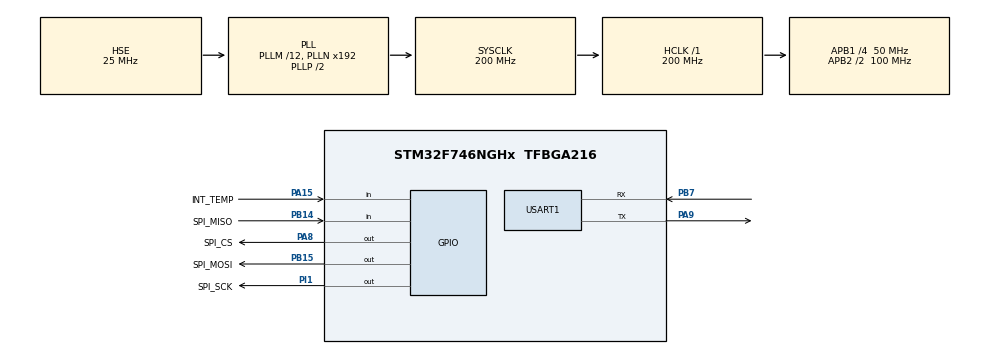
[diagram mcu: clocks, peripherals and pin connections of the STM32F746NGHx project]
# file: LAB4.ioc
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Mcu.Family=STM32F7
Mcu.Name=STM32F746NGHx
Mcu.Package=TFBGA216
NVIC.PriorityGroup=NVIC_PRIORITYGROUP_4
NVIC.TIM1_UP_TIM10_IRQn=true\:15\:0\:false\:false\:true\:false\:true
NVIC.TimeBase=TIM1_UP_TIM10_IRQn
NVIC.TimeBaseIP=TIM1
PA15.GPIO_Label=INT_TEMP
PA15.Signal=GPIO_Input
PA8.GPIO_Label=SPI_CS
PA8.Signal=GPIO_Output
PA9.Mode=Asynchronous
PA9.Signal=USART1_TX
PB14.GPIO_Label=SPI_MISO
PB14.Signal=GPIO_Input
PB15.GPIO_Label=SPI_MOSI
PB15.Signal=GPIO_Output
PB7.Mode=Asynchronous
PB7.Signal=USART1_RX
PC14/OSC32_IN.Mode=LSE-External-Oscillator
PC14/OSC32_IN.Signal=RCC_OSC32_IN
PC15/OSC32_OUT.Mode=LSE-External-Oscillator
PC15/OSC32_OUT.Signal=RCC_OSC32_OUT
PH0/OSC_IN.Mode=HSE-External-Oscillator
PH0/OSC_IN.Signal=RCC_OSC_IN
PH1/OSC_OUT.Mode=HSE-External-Oscillator
PH1/OSC_OUT.Signal=RCC_OSC_OUT
PI1.GPIO_Label=SPI_SCK
PI1.Signal=GPIO_Output
ProjectManager.HeapSize=0x200
ProjectManager.StackSize=0x400
ProjectManager.TargetToolchain=STM32CubeIDE
RCC.AHBFreq_Value=200000000
RCC.APB1CLKDivider=RCC_HCLK_DIV4
RCC.APB1Freq_Value=50000000
RCC.APB1TimFreq_Value=100000000
RCC.APB2CLKDivider=RCC_HCLK_DIV2
RCC.APB2Freq_Value=100000000
RCC.APB2TimFreq_Value=200000000
RCC.CortexFreq_Value=200000000
RCC.HCLKFreq_Value=200000000
RCC.HSE_VALUE=25000000
RCC.HSI_VALUE=16000000
RCC.PLLM=12
RCC.PLLSourceVirtual=RCC_PLLSOURCE_HSE
RCC.SYSCLKFreq_VALUE=200000000
RCC.SYSCLKSource=RCC_SYSCLKSOURCE_PLLCLK
RCC.USBFreq_Value=200000000
RCC.VCOOutputFreq_Value=400000000
USART1.VirtualMode-Asynchronous=VM_ASYNC
VP_SYS_VS_tim1.Mode=TIM1
board=STM32F746G-DISCO

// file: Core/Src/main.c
/* USER CODE BEGIN Header */
/**
 ******************************************************************************
 * @file           : main.c
 * @brief          : Main program body
 ******************************************************************************
 * @attention
 *
 * <h2><center>&copy; Copyright (c) 2023 STMicroelectronics.
 * All rights reserved.</center></h2>
 *
 * This software component is licensed by ST under BSD 3-Clause license,
 * the "License"; You may not use this file except in compliance with the
 * License. You may obtain a copy of the License at:
 *                        opensource.org/licenses/BSD-3-Clause
 *
 ******************************************************************************
 */
/* USER CODE END Header */
#include "main.h"

UART_HandleTypeDef huart1;

void SystemClock_Config(void);
static void MX_GPIO_Init(void);
static void MX_USART1_UART_Init(void);

/* USER CODE BEGIN 0 */
void spi_tranceive_bytes(uint8_t[4] , uint8_t[8] , uint16_t);
void spi_transmit(uint8_t, uint16_t);
uint8_t spi_receive(uint16_t);
uint8_t reverse(uint8_t);

void SysTickDelayCount(uint32_t);

#include <stdio.h>

#include <errno.h>
#include <sys/stat.h>
#include <sys/times.h>
#include <sys/unistd.h>
int _write(int file, char *ptr, int len) {
	HAL_StatusTypeDef xStatus;
	switch (file) {
	case STDOUT_FILENO: /*stdout*/
		xStatus = HAL_UART_Transmit(&huart1, (uint8_t*)ptr, len, HAL_MAX_DELAY);
		if (xStatus != HAL_OK) {
			errno = EIO;
			return -1;
		}
		break;
	case STDERR_FILENO: /* stderr */
		xStatus = HAL_UART_Transmit(&huart1, (uint8_t*)ptr, len, HAL_MAX_DELAY);
		if (xStatus != HAL_OK) {
			errno = EIO;
			return -1;
		}
		break;
	default:
		errno = EBADF;
		return -1;
	}
	return len;
}
/* USER CODE END 0 */

int main(void)
{

	/* MCU Configuration--------------------------------------------------------*/

	/* Reset of all peripherals, Initializes the Flash interface and the Systick. */
	HAL_Init();

	/* Configure the system clock */
	SystemClock_Config();

	/* Initialize all configured peripherals */
	MX_GPIO_Init();
	MX_USART1_UART_Init();
	/* USER CODE BEGIN 2 */

	//Commandbyte bit7:0 bit6:R/!W bit5-3:RegisterAdres bit2:continues read bit1-0:0
	//uint8_t trans[4] = {0b01011000, 0x00, 0x00, 0x00};	//continous read
	uint8_t trans[4] = {0x54, 0x00, 0x00, 0x00};	//once read
	//uint8_t trans[8] = {0x58, 0x00, 0x00, 0x58};	//cont read
	uint8_t reset[4] = {0xff, 0xff, 0xff, 0xff};
	uint8_t receive[8] = {0x00,0x00, 0x00, 0x00, 0x00,0x00, 0x00, 0x00};
	uint16_t len = 8;

	spi_tranceive_bytes(reset, receive, len);
	HAL_Delay(100);

	/* USER CODE END 2 */

	/* Infinite loop */
	while (1)
	{

		/* USER CODE BEGIN 3 */
		spi_tranceive_bytes(trans, receive, len);
		//HAL_Delay(1000);
		//test prints
		printf("-----------------------------------------------\n\r");
		for(int i = 0; i < 8; i++){
			printf("RX byte %d = %d\n\r", i, receive[i]);
		}

		HAL_Delay(100);
	}
	/* USER CODE END 3 */
}

void SystemClock_Config(void)
{
	RCC_OscInitTypeDef RCC_OscInitStruct = {0};
	RCC_ClkInitTypeDef RCC_ClkInitStruct = {0};
	RCC_PeriphCLKInitTypeDef PeriphClkInitStruct = {0};

	/** Configure LSE Drive Capability
	 */
	HAL_PWR_EnableBkUpAccess();
	/** Configure the main internal regulator output voltage
	 */
	__HAL_RCC_PWR_CLK_ENABLE();
	__HAL_PWR_VOLTAGESCALING_CONFIG(PWR_REGULATOR_VOLTAGE_SCALE1);
	/** Initializes the RCC Oscillators according to the specified parameters
	 * in the RCC_OscInitTypeDef structure.
	 */
	RCC_OscInitStruct.OscillatorType = RCC_OSCILLATORTYPE_HSE;
	RCC_OscInitStruct.HSEState = RCC_HSE_ON;
	RCC_OscInitStruct.PLL.PLLState = RCC_PLL_ON;
	RCC_OscInitStruct.PLL.PLLSource = RCC_PLLSOURCE_HSE;
	RCC_OscInitStruct.PLL.PLLM = 12;
	RCC_OscInitStruct.PLL.PLLN = 192;
	RCC_OscInitStruct.PLL.PLLP = RCC_PLLP_DIV2;
	RCC_OscInitStruct.PLL.PLLQ = 2;
	if (HAL_RCC_OscConfig(&RCC_OscInitStruct) != HAL_OK)
	{
		Error_Handler();
	}
	/** Activate the Over-Drive mode
	 */
	if (HAL_PWREx_EnableOverDrive() != HAL_OK)
	{
		Error_Handler();
	}
	/** Initializes the CPU, AHB and APB buses clocks
	 */
	RCC_ClkInitStruct.ClockType = RCC_CLOCKTYPE_HCLK|RCC_CLOCKTYPE_SYSCLK
			|RCC_CLOCKTYPE_PCLK1|RCC_CLOCKTYPE_PCLK2;
	RCC_ClkInitStruct.SYSCLKSource = RCC_SYSCLKSOURCE_PLLCLK;
	RCC_ClkInitStruct.AHBCLKDivider = RCC_SYSCLK_DIV1;
	RCC_ClkInitStruct.APB1CLKDivider = RCC_HCLK_DIV4;
	RCC_ClkInitStruct.APB2CLKDivider = RCC_HCLK_DIV2;

	if (HAL_RCC_ClockConfig(&RCC_ClkInitStruct, FLASH_LATENCY_6) != HAL_OK)
	{
		Error_Handler();
	}
	PeriphClkInitStruct.PeriphClockSelection = RCC_PERIPHCLK_USART1;
	PeriphClkInitStruct.Usart1ClockSelection = RCC_USART1CLKSOURCE_PCLK2;
	if (HAL_RCCEx_PeriphCLKConfig(&PeriphClkInitStruct) != HAL_OK)
	{
		Error_Handler();
	}
}

static void MX_USART1_UART_Init(void)
{

	huart1.Instance = USART1;
	huart1.Init.BaudRate = 115200;
	huart1.Init.WordLength = UART_WORDLENGTH_8B;
	huart1.Init.StopBits = UART_STOPBITS_1;
	huart1.Init.Parity = UART_PARITY_NONE;
	huart1.Init.Mode = UART_MODE_TX_RX;
	huart1.Init.HwFlowCtl = UART_HWCONTROL_NONE;
	huart1.Init.OverSampling = UART_OVERSAMPLING_16;
	huart1.Init.OneBitSampling = UART_ONE_BIT_SAMPLE_DISABLE;
	huart1.AdvancedInit.AdvFeatureInit = UART_ADVFEATURE_NO_INIT;
	if (HAL_UART_Init(&huart1) != HAL_OK)
	{
		Error_Handler();
	}

}

static void MX_GPIO_Init(void)
{
	GPIO_InitTypeDef GPIO_InitStruct = {0};

	/* GPIO Ports Clock Enable */
	__HAL_RCC_GPIOA_CLK_ENABLE();
	__HAL_RCC_GPIOB_CLK_ENABLE();
	__HAL_RCC_GPIOI_CLK_ENABLE();
	__HAL_RCC_GPIOC_CLK_ENABLE();
	__HAL_RCC_GPIOH_CLK_ENABLE();

	/*Configure GPIO pin Output Level */
	HAL_GPIO_WritePin(SPI_SCK_GPIO_Port, SPI_SCK_Pin, GPIO_PIN_RESET);

	/*Configure GPIO pin Output Level */
	HAL_GPIO_WritePin(SPI_CS_GPIO_Port, SPI_CS_Pin, GPIO_PIN_RESET);

	/*Configure GPIO pin Output Level */
	HAL_GPIO_WritePin(SPI_MOSI_GPIO_Port, SPI_MOSI_Pin, GPIO_PIN_RESET);

	/*Configure GPIO pin : INT_TEMP_Pin */
	GPIO_InitStruct.Pin = INT_TEMP_Pin;
	GPIO_InitStruct.Mode = GPIO_MODE_INPUT;
	GPIO_InitStruct.Pull = GPIO_NOPULL;
	HAL_GPIO_Init(INT_TEMP_GPIO_Port, &GPIO_InitStruct);

	/*Configure GPIO pin : SPI_SCK_Pin */
	GPIO_InitStruct.Pin = SPI_SCK_Pin;
	GPIO_InitStruct.Mode = GPIO_MODE_OUTPUT_PP;
	GPIO_InitStruct.Pull = GPIO_NOPULL;
	GPIO_InitStruct.Speed = GPIO_SPEED_FREQ_LOW;
	HAL_GPIO_Init(SPI_SCK_GPIO_Port, &GPIO_InitStruct);

	/*Configure GPIO pin : SPI_CS_Pin */
	GPIO_InitStruct.Pin = SPI_CS_Pin;
	GPIO_InitStruct.Mode = GPIO_MODE_OUTPUT_PP;
	GPIO_InitStruct.Pull = GPIO_NOPULL;
	GPIO_InitStruct.Speed = GPIO_SPEED_FREQ_LOW;
	HAL_GPIO_Init(SPI_CS_GPIO_Port, &GPIO_InitStruct);

	/*Configure GPIO pin : SPI_MISO_Pin */
	GPIO_InitStruct.Pin = SPI_MISO_Pin;
	GPIO_InitStruct.Mode = GPIO_MODE_INPUT;
	GPIO_InitStruct.Pull = GPIO_NOPULL;
	HAL_GPIO_Init(SPI_MISO_GPIO_Port, &GPIO_InitStruct);

	/*Configure GPIO pin : SPI_MOSI_Pin */
	GPIO_InitStruct.Pin = SPI_MOSI_Pin;
	GPIO_InitStruct.Mode = GPIO_MODE_OUTPUT_PP;
	GPIO_InitStruct.Pull = GPIO_NOPULL;
	GPIO_InitStruct.Speed = GPIO_SPEED_FREQ_LOW;
	HAL_GPIO_Init(SPI_MOSI_GPIO_Port, &GPIO_InitStruct);

}

/* USER CODE BEGIN 4 */

void spi_tranceive_bytes(uint8_t trans[4], uint8_t receive[8], uint16_t len){
	//logica
	/* clk laag
	 * data klaarzette
	 * data inlezen
	 * clk hoog
	 * volgende byte
	 *
	 * dit doen voor len aantal keer
	 *
	 * transmit en receive tegelijkertijd
	 */
	//vars
	uint32_t delay1us = 10000; //20

	uint8_t output = 0x00;
	uint8_t mask = 0x01;
	uint8_t shift = 0x00;

	uint8_t input = 0x00;

	//init
	HAL_GPIO_WritePin(SPI_CS_GPIO_Port, SPI_CS_Pin, 1);
	HAL_GPIO_WritePin(SPI_MOSI_GPIO_Port, SPI_MOSI_Pin, 1);
	HAL_GPIO_WritePin(SPI_SCK_GPIO_Port, SPI_SCK_Pin, 1);
	SysTickDelayCount(delay1us);

	//cs laag
	HAL_GPIO_WritePin(SPI_CS_GPIO_Port, SPI_CS_Pin, 0);
	HAL_GPIO_WritePin(SPI_MOSI_GPIO_Port, SPI_MOSI_Pin, 0);
	SysTickDelayCount(delay1us);

	//clk laag
	HAL_GPIO_WritePin(SPI_SCK_GPIO_Port, SPI_SCK_Pin, 0);
	SysTickDelayCount(delay1us);

	//herhalen voor len keer
	//herhalen voor 8 aantal keer
	for(int bytes = 0; bytes < len; bytes++)
	{
		shift = reverse(trans[bytes]);
		for(int bit = 0; bit < 8; bit++)
		{
			//bit TX klaarzetten
			output = shift & mask;
			if(output == 0x01){
				HAL_GPIO_WritePin(SPI_MOSI_GPIO_Port, SPI_MOSI_Pin, 1);
			}
			else{
				HAL_GPIO_WritePin(SPI_MOSI_GPIO_Port, SPI_MOSI_Pin, 0);
			}
			shift = (shift >> 1);

			//clk Pulse
			HAL_GPIO_WritePin(SPI_SCK_GPIO_Port, SPI_SCK_Pin, 1);
			SysTickDelayCount(delay1us);

			//bit RX inlezen
			if(HAL_GPIO_ReadPin(SPI_MISO_GPIO_Port, SPI_MISO_Pin) == 1){
				input |= 0x00000001;
			}
			else{
				input &= 0xFFFFFFFE;
			}
			input = (input << 1);

			HAL_GPIO_WritePin(SPI_SCK_GPIO_Port, SPI_SCK_Pin, 0);
			SysTickDelayCount(delay1us);
		}
		receive[bytes] = input;
		HAL_GPIO_WritePin(SPI_MOSI_GPIO_Port, SPI_MOSI_Pin, 0);
		HAL_Delay(1);
	}

	HAL_GPIO_WritePin(SPI_MOSI_GPIO_Port, SPI_MOSI_Pin, 1);
	HAL_GPIO_WritePin(SPI_SCK_GPIO_Port, SPI_SCK_Pin, 1);
	SysTickDelayCount(delay1us);
	HAL_GPIO_WritePin(SPI_CS_GPIO_Port, SPI_CS_Pin, 1);
	SysTickDelayCount(delay1us);
}

uint8_t reverse(uint8_t b) {
	b = (b & 0xF0) >> 4 | (b & 0x0F) << 4;
	b = (b & 0xCC) >> 2 | (b & 0x33) << 2;
	b = (b & 0xAA) >> 1 | (b & 0x55) << 1;
	return b;
}

//data opslagen in arrays

//	HAL_GPIO_WritePin(SPI_CS_GPIO_Port, SPI_CS_Pin, 1);
//	HAL_GPIO_WritePin(SPI_MOSI_GPIO_Port, SPI_MOSI_Pin, 1);
//	HAL_GPIO_WritePin(SPI_SCK_GPIO_Port, SPI_SCK_Pin, 1);

void SysTickDelayCount(uint32_t ulCount){
	CoreDebug->DEMCR |= CoreDebug_DEMCR_TRCENA_Msk;
	DWT->LAR = 0xC5ACCE55;
	DWT->CYCCNT = 0;
	DWT->CTRL |= DWT_CTRL_CYCCNTENA_Msk;

	while(DWT->CYCCNT < ulCount);
}

/* USER CODE END 4 */

void HAL_TIM_PeriodElapsedCallback(TIM_HandleTypeDef *htim)
{
	if (htim->Instance == TIM1) {
		HAL_IncTick();
	}
}

void Error_Handler(void)
{
	__disable_irq();
	while (1)
	{
	}
}

/************************ (C) COPYRIGHT STMicroelectronics *****END OF FILE****/
